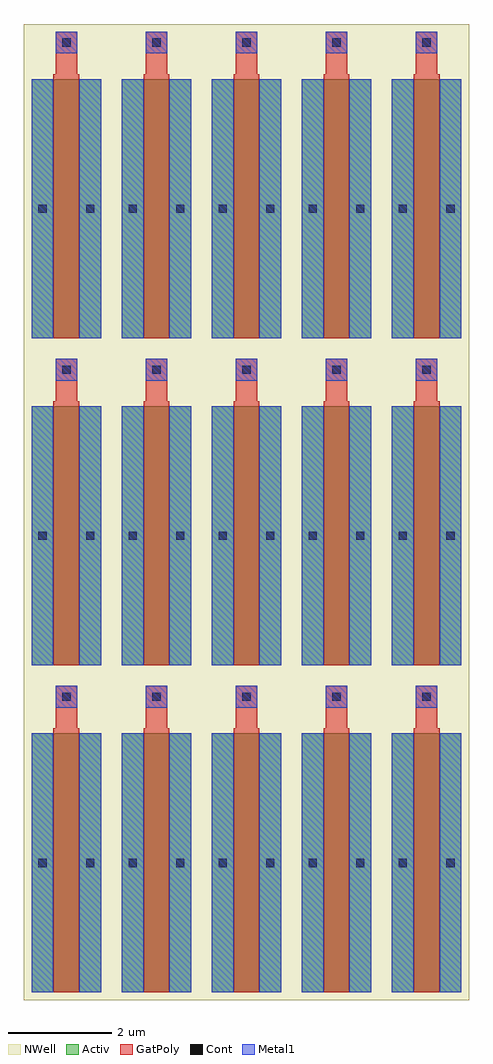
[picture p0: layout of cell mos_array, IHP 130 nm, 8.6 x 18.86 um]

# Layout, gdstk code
import gdstk
lib = gdstk.Library(unit=1e-6, precision=1e-09)
def R(c, l, rs):  # rectangles x0, y0, x1, y1
    for r in rs: c.add(gdstk.rectangle(r[:2], r[2:], *l))
def A(c, l, x, y, w, h, nx, ny, dx, dy):  # array of equal rectangles
    R(c, l, [(x+i*dx, y+j*dy, x+i*dx+w, y+j*dy+h) for i in range(nx) for j in range(ny)])
Activ = (1, 0)
GatPoly = (5, 0)
Cont = (6, 0)
Metal1 = (8, 0)
NWell = (31, 0)

mos_array = lib.new_cell('mos_array')
A(mos_array, Activ, 0, 0, 1.34, 5, 5, 3, 1.74, 6.32)
A(mos_array, GatPoly, 0.42, 0, 0.5, 5, 5, 3, 1.74, 6.32)
A(mos_array, GatPoly, 0.42, 5, 0.5, 0.1, 5, 3, 1.74, 6.32)
A(mos_array, GatPoly, 0.46, 5.1, 0.42, 0.82, 5, 3, 1.74, 6.32)
A(mos_array, Cont, 0.13, 2.42, 0.16, 0.16, 1, 3, 0, 6.32)
A(mos_array, Cont, 1.05, 2.42, 0.16, 0.16, 1, 3, 0, 6.32)
A(mos_array, Cont, 1.87, 2.42, 0.16, 0.16, 1, 3, 0, 6.32)
A(mos_array, Cont, 2.79, 2.42, 0.16, 0.16, 1, 3, 0, 6.32)
A(mos_array, Cont, 3.61, 2.42, 0.16, 0.16, 1, 3, 0, 6.32)
A(mos_array, Cont, 4.53, 2.42, 0.16, 0.16, 1, 3, 0, 6.32)
A(mos_array, Cont, 5.35, 2.42, 0.16, 0.16, 1, 3, 0, 6.32)
A(mos_array, Cont, 6.27, 2.42, 0.16, 0.16, 1, 3, 0, 6.32)
A(mos_array, Cont, 7.09, 2.42, 0.16, 0.16, 1, 3, 0, 6.32)
A(mos_array, Cont, 8.01, 2.42, 0.16, 0.16, 1, 3, 0, 6.32)
A(mos_array, Cont, 0.59, 5.63, 0.16, 0.16, 5, 3, 1.74, 6.32)
A(mos_array, Metal1, 0, 0, 0.42, 5, 1, 3, 0, 6.32)
A(mos_array, Metal1, 0.92, 0, 0.42, 5, 1, 3, 0, 6.32)
A(mos_array, Metal1, 1.74, 0, 0.42, 5, 1, 3, 0, 6.32)
A(mos_array, Metal1, 2.66, 0, 0.42, 5, 1, 3, 0, 6.32)
A(mos_array, Metal1, 3.48, 0, 0.42, 5, 1, 3, 0, 6.32)
A(mos_array, Metal1, 4.4, 0, 0.42, 5, 1, 3, 0, 6.32)
A(mos_array, Metal1, 5.22, 0, 0.42, 5, 1, 3, 0, 6.32)
A(mos_array, Metal1, 6.14, 0, 0.42, 5, 1, 3, 0, 6.32)
A(mos_array, Metal1, 6.96, 0, 0.42, 5, 1, 3, 0, 6.32)
A(mos_array, Metal1, 7.88, 0, 0.42, 5, 1, 3, 0, 6.32)
A(mos_array, Metal1, 0.46, 5.5, 0.42, 0.42, 5, 3, 1.74, 6.32)
R(mos_array, NWell, [(-0.15,-0.15,8.45,18.71)])

lib.write_gds('mos_array.gds')
